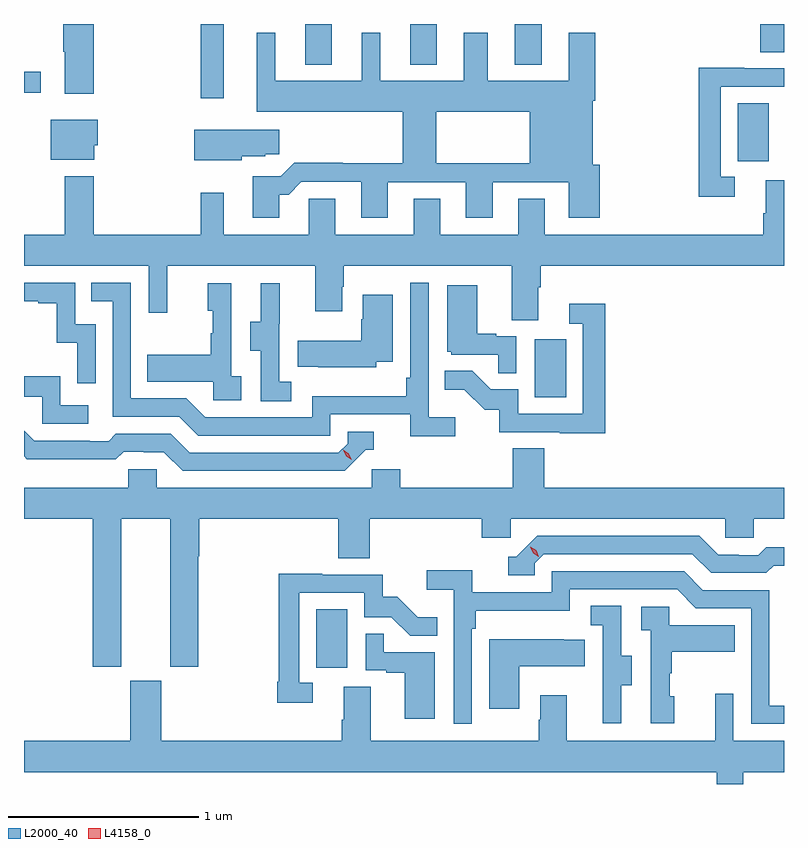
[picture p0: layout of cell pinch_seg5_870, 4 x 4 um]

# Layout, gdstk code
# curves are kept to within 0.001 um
import gdstk
lib = gdstk.Library(unit=1e-6, precision=1e-09)
def R(c, l, rs):  # rectangles x0, y0, x1, y1
    for r in rs: c.add(gdstk.rectangle(r[:2], r[2:], *l))
def A(c, l, x, y, w, h, nx, ny, dx, dy):  # array of equal rectangles
    R(c, l, [(x+i*dx, y+j*dy, x+i*dx+w, y+j*dy+h) for i in range(nx) for j in range(ny)])
def P(c, l, *ps):  # polygons
    for p in ps: c.add(gdstk.Polygon(p, *l))
L2000_40 = (2000, 40)
L4158_0 = (4158, 0)

pinch_seg5_870 = lib.new_cell('pinch_seg5_870')
A(pinch_seg5_870, L2000_40, 879.437, 879.131, 0.14, 0.214, 3, 1, 0.552, 0)
R(pinch_seg5_870, L2000_40, [(879.494,875.958,879.658,876.265), (880.646,877.38,880.81,877.687), (881.714,878.622,881.878,878.929), (878.886,878.955,879.007,879.345), (877.957,878.984,878.044,879.094), (881.831,879.196,881.957,879.345)])
P(pinch_seg5_870, L2000_40, [(878.324,879.345),(878.164,879.345),(878.164,879.2),(878.171,879.2),(878.171,878.979),(878.324,878.979)],
  [(879.635,878.615),(879.38,878.615),(879.309,878.544),(879.161,878.544),(879.161,878.325),(879.301,878.325),(879.301,878.447),(879.35,878.447),(879.417,878.514),(879.731,878.514),(879.731,878.325),(879.871,878.325),(879.871,878.511),(880.283,878.511),(880.283,878.325),(880.423,878.325),(880.423,878.511),(880.823,878.511),(880.823,878.325),(880.988,878.325),(880.988,878.604),(880.951,878.604),(880.951,878.942),(880.964,878.942),(880.964,879.298),(880.823,879.298),(880.823,879.046),(880.399,879.046),(880.399,879.298),(880.271,879.298),(880.271,879.046),(879.832,879.046),(879.832,879.298),(879.734,879.298),(879.734,879.046),(879.28,879.046),(879.28,879.298),(879.182,879.298),(879.182,878.882),(879.95,878.882),(879.95,878.612),(880.128,878.612),(880.128,878.882),(880.619,878.882),(880.619,878.612),(879.635,878.612)],
  [(881.698,878.541),(881.625,878.541),(881.625,879.015),(881.957,879.015),(881.957,879.111),(881.747,879.111),(881.747,879.116),(881.509,879.116),(881.509,878.436),(881.698,878.436)],
  [(878.326,878.706),(878.344,878.706),(878.344,878.842),(878.099,878.842),(878.099,878.63),(878.326,878.63)],
  [(879.102,878.648),(879.228,878.648),(879.228,878.659),(879.301,878.659),(879.301,878.788),(878.852,878.788),(878.852,878.627),(879.102,878.627)],
  [(880.663,877.96),(880.676,877.96),(880.676,878.072),(881.957,878.072),(881.957,878.522),(881.861,878.522),(881.861,878.348),(881.849,878.348),(881.849,878.236),(880.699,878.236),(880.699,878.426),(880.559,878.426),(880.559,878.236),(880.147,878.236),(880.147,878.426),(880.007,878.426),(880.007,878.236),(879.595,878.236),(879.595,878.426),(879.456,878.426),(879.456,878.236),(879.007,878.236),(879.007,878.458),(878.886,878.458),(878.886,878.236),(878.324,878.236),(878.324,878.545),(878.171,878.545),(878.171,878.236),(877.957,878.236),(877.957,878.072),(878.613,878.072),(878.613,877.824),(878.711,877.824),(878.711,878.072),(879.491,878.072),(879.491,877.833),(879.631,877.833),(879.631,877.961),(879.639,877.961),(879.639,878.072),(880.523,878.072),(880.523,877.786),(880.663,877.786)],
  [(880.228,877.276),(880.086,877.276),(880.086,877.984),(879.99,877.984),(879.99,877.483),(879.97,877.483),(879.97,877.387),(879.474,877.387),(879.474,877.275),(878.91,877.275),(878.811,877.374),(878.52,877.374),(878.52,877.983),(878.311,877.983),(878.311,877.887),(878.424,877.887),(878.424,877.278),(878.774,877.278),(878.873,877.179),(879.57,877.179),(879.57,877.29),(879.989,877.29),(879.989,877.174),(880.228,877.174)],
  [(878.334,877.764),(878.226,877.764),(878.226,877.983),(877.957,877.983),(877.957,877.887),(878.033,877.887),(878.033,877.875),(878.129,877.875),(878.129,877.667),(878.238,877.667),(878.238,877.455),(878.334,877.455)],
  [(879.1,877.49),(879.048,877.49),(879.048,877.981),(878.924,877.981),(878.924,877.836),(878.95,877.836),(878.95,877.718),(878.94,877.718),(878.94,877.603),(878.605,877.603),(878.605,877.463),(878.952,877.463),(878.952,877.365),(879.1,877.365)],
  [(879.364,877.463),(879.3,877.463),(879.3,877.767),(879.302,877.767),(879.302,877.981),(879.203,877.981),(879.203,877.779),(879.149,877.779),(879.149,877.624),(879.204,877.624),(879.204,877.36),(879.364,877.36)],
  [(880.548,877.701),(880.442,877.701),(880.442,877.714),(880.342,877.714),(880.342,877.969),(880.184,877.969),(880.184,877.62),(880.206,877.62),(880.206,877.605),(880.453,877.605),(880.453,877.507),(880.548,877.507)],
  [(879.811,877.568),(879.898,877.568),(879.898,877.921),(879.74,877.921),(879.74,877.791),(879.733,877.791),(879.733,877.678),(879.397,877.678),(879.397,877.541),(879.505,877.541),(879.505,877.538),(879.811,877.538)],
  [(881.015,877.873),(880.827,877.873),(880.827,877.767),(880.899,877.767),(880.899,877.293),(880.557,877.293),(880.557,877.422),(880.413,877.422),(880.315,877.52),(880.171,877.52),(880.171,877.421),(880.275,877.421),(880.382,877.314),(880.459,877.314),(880.459,877.197),(880.777,877.197),(880.777,877.192),(881.015,877.192)],
  [(878.296,877.338),(878.148,877.338),(878.148,877.492),(877.957,877.492),(877.957,877.383),(878.052,877.383),(878.052,877.242),(878.296,877.242)],
  [(879.756,877.104),(879.799,877.104),(879.799,877.2),(879.66,877.2),(879.66,877.137),(879.612,877.089),(878.829,877.089),(878.73,877.188),(878.441,877.188),(878.402,877.149),(878.303,877.149),(878.303,877.152),(878.01,877.152),(877.957,877.205),(877.957,877.07),(877.972,877.055),(878.208,877.055),(878.208,877.053),(878.441,877.053),(878.483,877.095),(878.586,877.095),(878.586,877.092),(878.693,877.092),(878.792,876.993),(879.645,876.993)],
  [(878.47,876.74),(878.726,876.74),(878.726,875.961),(878.874,875.961),(878.874,876.544),(878.879,876.544),(878.879,876.74),(879.611,876.74),(879.611,876.532),(879.776,876.532),(879.776,876.74),(880.367,876.74),(880.367,876.642),(880.518,876.642),(880.518,876.74),(881.649,876.74),(881.649,876.642),(881.799,876.642),(881.799,876.74),(881.957,876.74),(881.957,876.904),(880.694,876.904),(880.694,877.112),(880.529,877.112),(880.529,876.904),(879.938,876.904),(879.938,877.002),(879.786,877.002),(879.786,876.904),(878.655,876.904),(878.655,877.002),(878.505,877.002),(878.505,876.904),(877.957,876.904),(877.957,876.74),(878.318,876.74),(878.318,875.961),(878.47,875.961)],
  [(880.644,876.507),(880.692,876.555),(881.475,876.555),(881.574,876.456),(881.863,876.456),(881.902,876.495),(881.957,876.495),(881.957,876.592),(881.863,876.592),(881.821,876.549),(881.718,876.549),(881.718,876.552),(881.611,876.552),(881.512,876.651),(880.659,876.651),(880.548,876.54),(880.505,876.54),(880.505,876.444),(880.644,876.444)],
  [(880.314,876.161),(880.334,876.161),(880.334,876.257),(880.83,876.257),(880.83,876.369),(881.394,876.369),(881.493,876.27),(881.784,876.27),(881.784,875.661),(881.957,875.661),(881.957,875.757),(881.88,875.757),(881.88,876.366),(881.53,876.366),(881.431,876.465),(880.734,876.465),(880.734,876.354),(880.316,876.354),(880.316,876.47),(880.077,876.47),(880.077,876.368),(880.218,876.368),(880.218,875.661),(880.314,875.661)],
  [(879.478,875.877),(879.405,875.877),(879.405,876.351),(879.747,876.351),(879.747,876.222),(879.891,876.222),(879.989,876.124),(880.133,876.124),(880.133,876.223),(880.029,876.223),(879.922,876.33),(879.846,876.33),(879.846,876.447),(879.527,876.447),(879.527,876.452),(879.297,876.452),(879.297,875.884),(879.289,875.884),(879.289,875.772),(879.478,875.772)],
  [(881.101,875.866),(881.155,875.866),(881.155,876.021),(881.1,876.021),(881.1,876.284),(880.941,876.284),(880.941,876.181),(881.004,876.181),(881.004,875.877),(881.003,875.877),(881.003,875.664),(881.101,875.664)],
  [(881.38,875.808),(881.355,875.808),(881.355,875.927),(881.365,875.927),(881.365,876.041),(881.699,876.041),(881.699,876.181),(881.352,876.181),(881.352,876.279),(881.205,876.279),(881.205,876.155),(881.256,876.155),(881.256,875.664),(881.38,875.664)],
  [(880.12,876.039),(879.851,876.039),(879.851,876.137),(879.756,876.137),(879.756,875.943),(879.863,875.943),(879.863,875.931),(879.962,875.931),(879.962,875.688),(880.12,875.688)],
  [(880.564,875.966),(880.907,875.966),(880.907,876.103),(880.799,876.103),(880.799,876.106),(880.406,876.106),(880.406,875.742),(880.564,875.742)],
  [(881.743,875.408),(881.957,875.408),(881.957,875.572),(881.691,875.572),(881.691,875.821),(881.594,875.821),(881.594,875.572),(880.813,875.572),(880.813,875.812),(880.673,875.812),(880.673,875.684),(880.666,875.684),(880.666,875.572),(879.781,875.572),(879.781,875.858),(879.641,875.858),(879.641,875.684),(879.629,875.684),(879.629,875.572),(878.68,875.572),(878.68,875.889),(878.516,875.889),(878.516,875.572),(877.957,875.572),(877.957,875.408),(881.603,875.408),(881.603,875.345),(881.743,875.345)])
P(pinch_seg5_870, L4158_0, [(880.667,876.541),(880.637,876.56),(880.621,876.593),(880.621,876.593),(880.621,876.593),(880.652,876.574),(880.667,876.541),(880.667,876.541)],
  [(879.683,877.051),(879.652,877.07),(879.636,877.102),(879.636,877.103),(879.637,877.103),(879.667,877.084),(879.683,877.052),(879.683,877.051)])

lib.write_gds('pinch_seg5_870.gds')
